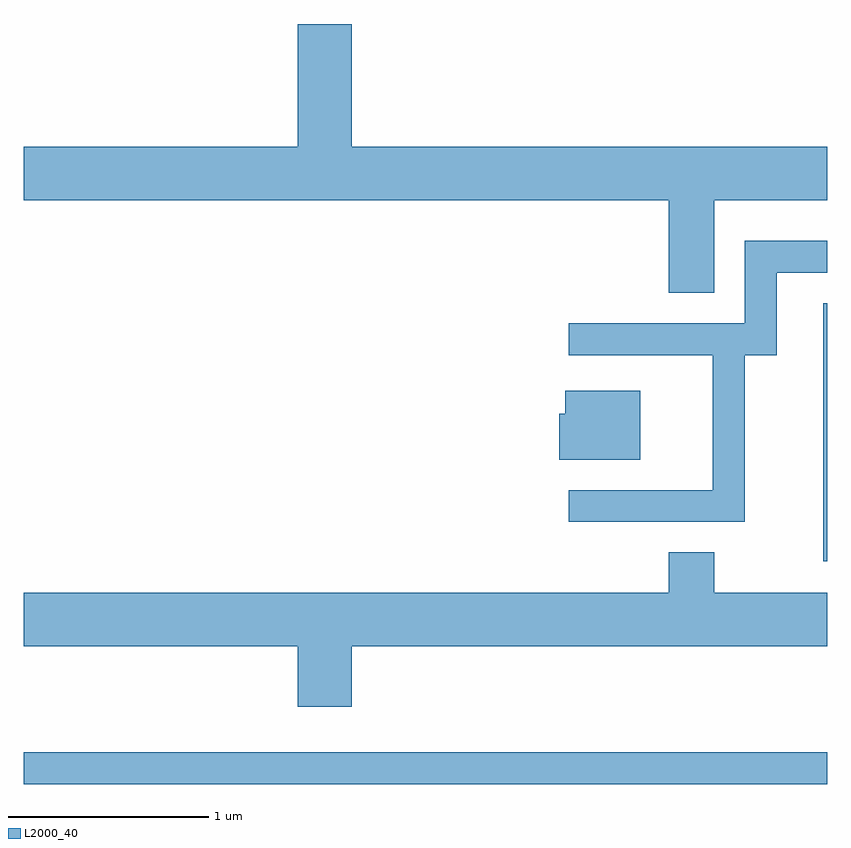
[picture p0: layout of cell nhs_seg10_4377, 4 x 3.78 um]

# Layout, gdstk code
import gdstk
lib = gdstk.Library(unit=1e-6, precision=1e-09)
def R(c, l, rs):  # rectangles x0, y0, x1, y1
    for r in rs: c.add(gdstk.rectangle(r[:2], r[2:], *l))
def P(c, l, *ps):  # polygons
    for p in ps: c.add(gdstk.Polygon(p, *l))
L2000_40 = (2000, 40)

nhs_seg10_4377 = lib.new_cell('nhs_seg10_4377')
R(nhs_seg10_4377, L2000_40, [(313.611,2168.731,317.611,2168.889), (317.591,2169.841,317.611,2171.124)])
P(nhs_seg10_4377, L2000_40, [(317.049,2171.636),(317.611,2171.636),(317.611,2171.904),(315.244,2171.904),(315.244,2172.514),(314.976,2172.514),(314.976,2171.904),(313.611,2171.904),(313.611,2171.636),(316.821,2171.636),(316.821,2171.176),(317.049,2171.176)],
  [(317.199,2170.866),(317.359,2170.866),(317.359,2171.276),(317.611,2171.276),(317.611,2171.434),(317.201,2171.434),(317.201,2171.024),(316.323,2171.024),(316.323,2170.866),(317.041,2170.866),(317.041,2170.194),(316.323,2170.194),(316.323,2170.036),(317.199,2170.036)],
  [(316.679,2170.689),(316.306,2170.689),(316.306,2170.574),(316.276,2170.574),(316.276,2170.346),(316.679,2170.346)],
  [(315.244,2169.416),(317.611,2169.416),(317.611,2169.684),(317.049,2169.684),(317.049,2169.884),(316.821,2169.884),(316.821,2169.684),(313.611,2169.684),(313.611,2169.416),(314.976,2169.416),(314.976,2169.116),(315.244,2169.116)])

lib.write_gds('nhs_seg10_4377.gds')
